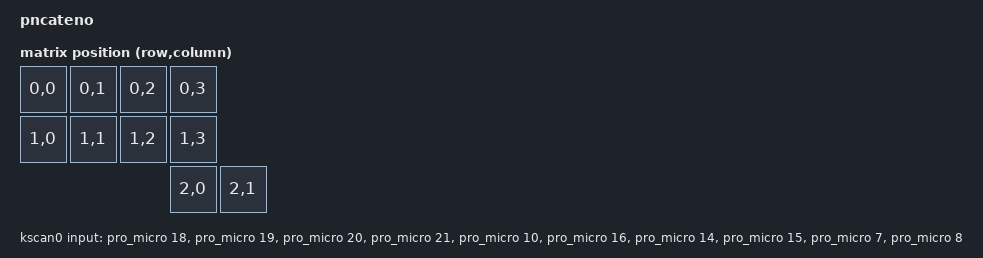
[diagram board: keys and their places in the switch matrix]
/*
 * Copyright (c) 2020 The ZMK Contributors
 *
 * SPDX-License-Identifier: MIT
 */

#include <dt-bindings/zmk/matrix_transform.h>
#include <dt-bindings/led/led.h>
// #include "PNCATENO-layouts.dtsi"
#include <physical_layouts.dtsi>

/ {
    RNCATENO_layout: RNCATENO_layout_0 {
        compatible = "zmk,physical-layout";
        display-name = "Default";
        kscan = <&kscan0>;
        transform = <&matrix_transform0>;

        keys  //                     w   h    x    y     rot    rx    ry
            = <&key_physical_attrs 100 100    0    0       0     0     0>
            , <&key_physical_attrs 100 100  100    0       0     0     0>
            , <&key_physical_attrs 100 100  200    0       0     0     0>
            , <&key_physical_attrs 100 100  300    0       0     0     0>
            , <&key_physical_attrs 100 100    0  100       0     0     0>
            , <&key_physical_attrs 100 100  100  100       0     0     0>
            , <&key_physical_attrs 100 100  200  100       0     0     0>
            , <&key_physical_attrs 100 100  300  100       0     0     0>
            , <&key_physical_attrs 100 100  300  200       0     0     0>
            , <&key_physical_attrs 100 100  400  200       0     0     0>
            
            ;
    };
};

&PNCATENO_position_map{
        origin {
                physical-layout = <&RNCATENO_layout>;
                positions
                = < 0  1  2  3 >
                , < 4  5  6  7 >
                , < 8 9 >;
        };
};


&RNCATENO_layout { transform = <&default_transform> };

/ {
    model = "pncateno";
    compatible = "aroum,pncateno";
    

    chosen {
        zmk,kscan = &kscan0;
        zmk,physical-layout = &RNCATENO_layout;
	};

default_transform: keymap_transform_0 {
	compatible = "zmk,matrix-transform";
	columns = <4>;
	rows = <3>;

        map = <
RC(0,0) RC(0,1) RC(0,2) RC(0,3)   
RC(1,0) RC(1,1) RC(1,2) RC(1,3)   
                        RC(2,0) RC(2,1)
        >;
    };

    kscan0: kscan_0 {
        compatible = "zmk,kscan-gpio-matrix";
        label = "KSCAN";

        input-gpios
            = <&pro_micro 18 (GPIO_ACTIVE_LOW | GPIO_PULL_UP)>
            , <&pro_micro 19 (GPIO_ACTIVE_LOW | GPIO_PULL_UP)>
            , <&pro_micro 20 (GPIO_ACTIVE_LOW | GPIO_PULL_UP)>
            , <&pro_micro 21 (GPIO_ACTIVE_LOW | GPIO_PULL_UP)>
            , <&pro_micro 10 (GPIO_ACTIVE_LOW | GPIO_PULL_UP)>
            , <&pro_micro 16 (GPIO_ACTIVE_LOW | GPIO_PULL_UP)>
            , <&pro_micro 14 (GPIO_ACTIVE_LOW | GPIO_PULL_UP)>
            , <&pro_micro 15 (GPIO_ACTIVE_LOW | GPIO_PULL_UP)>
            , <&pro_micro 7 (GPIO_ACTIVE_LOW | GPIO_PULL_UP)>
            , <&pro_micro 8 (GPIO_ACTIVE_LOW | GPIO_PULL_UP)>
            ;
    };
};
